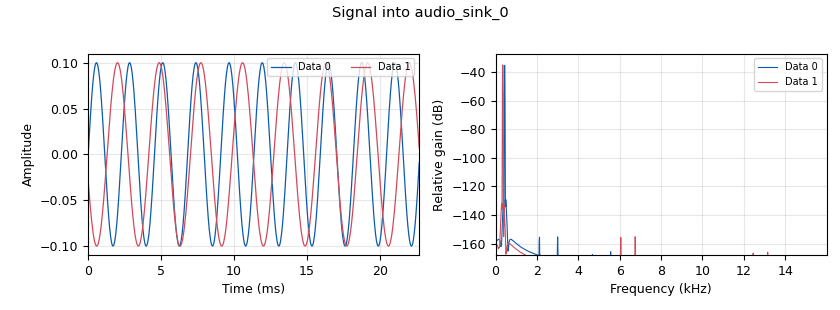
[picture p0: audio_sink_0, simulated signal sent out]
options:
  parameters:
    generate_options: no_gui
    id: GNURadioPythonTutorial
    output_language: python
    title: Tutorial_three_1
  states: {}

blocks:
- name: samp_rate
  id: variable
  parameters:
    value: '32000'
  states: {}
- name: analog_sig_source_x_0
  id: analog_sig_source_x
  parameters:
    amp: '0.1'
    freq: '440'
    offset: '0'
    phase: '0'
    samp_rate: samp_rate
    type: float
    waveform: analog.GR_SIN_WAVE
  states: {}
- name: analog_sig_source_x_1
  id: analog_sig_source_x
  parameters:
    amp: '0.1'
    freq: '350'
    offset: '0'
    phase: '0'
    samp_rate: samp_rate
    type: float
    waveform: analog.GR_SIN_WAVE
  states: {}
- name: audio_sink_0
  id: audio_sink
  parameters:
    num_inputs: '2'
    samp_rate: samp_rate
  states: {}

connections:
- [analog_sig_source_x_0, '0', audio_sink_0, '0']
- [analog_sig_source_x_1, '0', audio_sink_0, '1']

metadata:
  file_format: 1
  grc_version: 3.10.7.0
